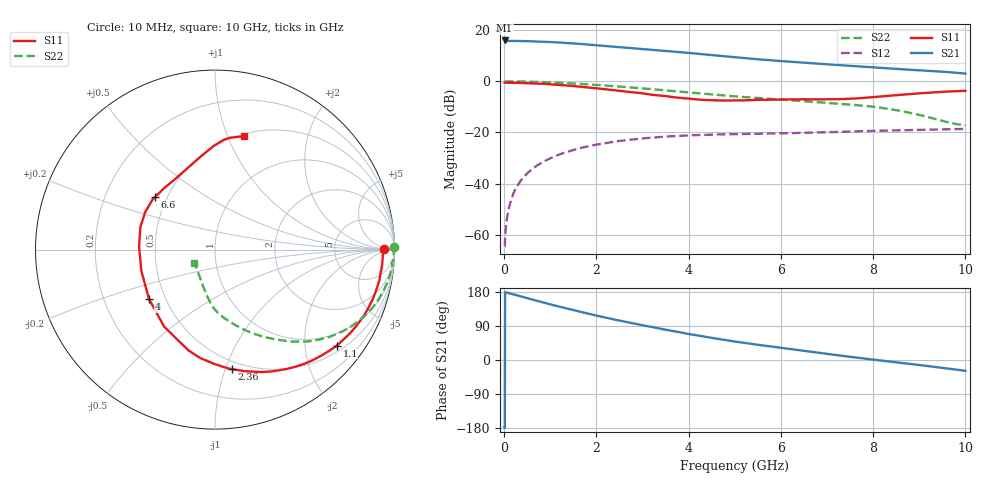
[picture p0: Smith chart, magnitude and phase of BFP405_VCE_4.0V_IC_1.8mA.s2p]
! Infineon Technologies  Discrete & RF Semiconductors
! BFP405
! VCE =  4.0 V,  IC =  1.8 mA
! Common Emitter S-Parameters:  Jan 2016
# GHz  S  MA  R  50
!  f  S11  S21  S12  S22
! GHz  MAG  ANG  MAG  ANG  MAG  ANG  MAG  ANG
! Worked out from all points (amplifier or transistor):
!   233 points, 10 MHz to 10 GHz, reference 50 ohm
!   highest |S21| = 15.9 dB at 10 MHz (marker M1)
!   |S21| within 3 dB of that: start of sweep to 2.789 GHz
!   unconditionally stable (mu >= 1): 14.84 MHz to 15.09 MHz; 4.582 GHz to end of sweep
!   at 200 MHz: K = 0.08, MSG = 29.8 dB, |S12| = -43.9 dB
!   at 1.74 GHz: K = 0.29, MSG = 20.1 dB, |S12| = -25.7 dB
!   at 10 GHz: K = 1.71, MAG = 5.9 dB, |S12| = -18.6 dB
!   S11 on the Smith chart (normalised r, x): 10 MHz: 32, +1; 1.1 GHz: 0.65, -2.75; 2.36 GHz: 0.43, -1.05; 4 GHz: 0.41, -0.28; 6.6 GHz: 0.43, +0.31; 10 GHz: 0.52, +1.14
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0.01  0.9396 0.1  6.273 -177.7  0.0006 -28.0  1 0.8
0.015  0.9385 -0.2  6.209 -179.4  0.0006 19.6  0.9961 0.5
0.02  0.9375 -0.5  6.151 178.8  0.0009 49.1  0.9922 0.2
0.05  0.9354 -1.6  6.112 178.3  0.0018 72.6  0.9958 -0.5
0.095  0.9356 -3.3  6.141 176.4  0.0031 80.9  0.9959 -1.5
0.28  0.9315 -9.6  6.137 170.6  0.0089 82.8  0.99 -4.8
0.5  0.9218 -17.2  6.086 163.3  0.0159 80.2  0.9833 -8.5
0.7  0.9069 -24.2  5.993 156.7  0.0222 76.8  0.9732 -11.9
1.1  0.8641 -38.2  5.79 143.7  0.0343 69.6  0.9438 -18.7
1.4  0.8224 -48.6  5.565 134.4  0.0429 64.2  0.9151 -23.4
1.68  0.7791 -58.2  5.341 126.2  0.0502 59.2  0.8847 -27.6
2  0.7287 -69.4  5.068 117.2  0.0579 53.8  0.8483 -32.2
2.36  0.6722 -82.0  4.772 107.7  0.0654 47.9  0.8052 -36.9
2.8  0.6097 -97.7  4.434 96.7  0.0734 41.4  0.7512 -42.4
3.4  0.5225 -119.4  3.99 82.4  0.0817 33.0  0.6751 -49.3
4  0.4592 -143.2  3.585 68.6  0.0877 25.6  0.6039 -56.0
4.5  0.4273 -163.8  3.258 58.2  0.091 20.3  0.5521 -61.3
5.1  0.4235 174.7  2.897 47.0  0.0933 15.0  0.5 -67.1
6.6  0.4442 138.7  2.278 22.6  0.0988 6.5  0.4019 -79.7
6.8  0.4429 134.0  2.209 19.4  0.0999 5.5  0.39 -81.5
8.4  0.5256 98.5  1.766 -4.7  0.1095 -3.2  0.2829 -96.8
10  0.6518 75.8  1.413 -28.6  0.1172 -11.1  0.1373 -147.5
